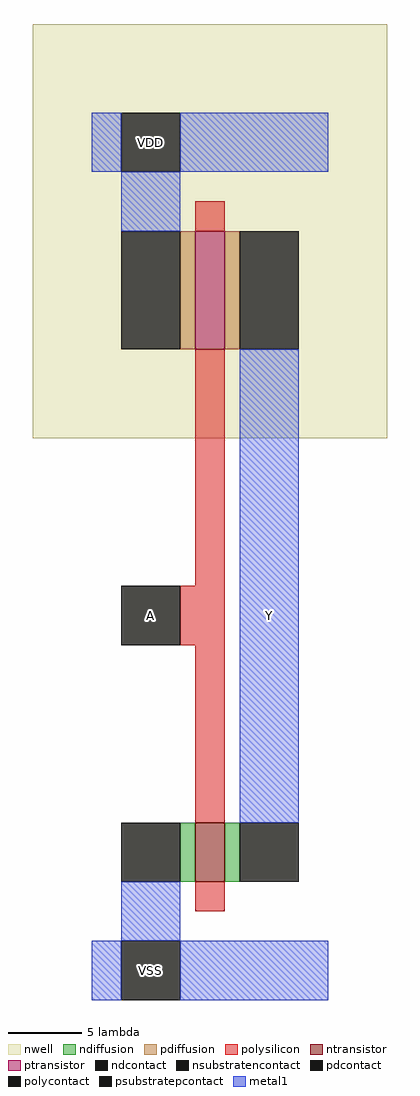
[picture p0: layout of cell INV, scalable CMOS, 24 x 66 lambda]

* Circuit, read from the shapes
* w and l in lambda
.subckt INV A VDD VSS Y
M1 Y A VSS VSS nfet w=4 l=2
M2 Y A VDD VDD pfet w=8 l=2
.ends

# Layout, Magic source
magic
tech scmos
<< nwell >>
rect -4 38 20 66
<< ntransistor >>
rect 7 8 9 12
<< ptransistor >>
rect 7 44 9 52
<< ndiffusion >>
rect 6 8 7 12
rect 9 8 10 12
<< pdiffusion >>
rect 6 44 7 52
rect 9 44 10 52
<< ndcontact >>
rect 2 8 6 12
rect 10 8 14 12
<< pdcontact >>
rect 2 44 6 52
rect 10 44 14 52
<< psubstratepcontact >>
rect 2 0 6 4
<< nsubstratencontact >>
rect 2 56 6 60
<< polysilicon >>
rect 7 52 9 54
rect 7 28 9 44
rect 6 24 9 28
rect 7 12 9 24
rect 7 6 9 8
<< polycontact >>
rect 2 24 6 28
<< metal1 >>
rect 0 56 2 60
rect 6 56 16 60
rect 2 52 6 56
rect 10 12 14 44
rect 2 4 6 8
rect 0 0 2 4
rect 6 0 16 4
<< labels >>
rlabel polycontact 4 26 4 26 3 A
rlabel metal1 12 26 12 26 1 Y
rlabel psubstratepcontact 4 2 4 2 2 VSS
rlabel nsubstratencontact 4 58 4 58 3 VDD
<< end >>
